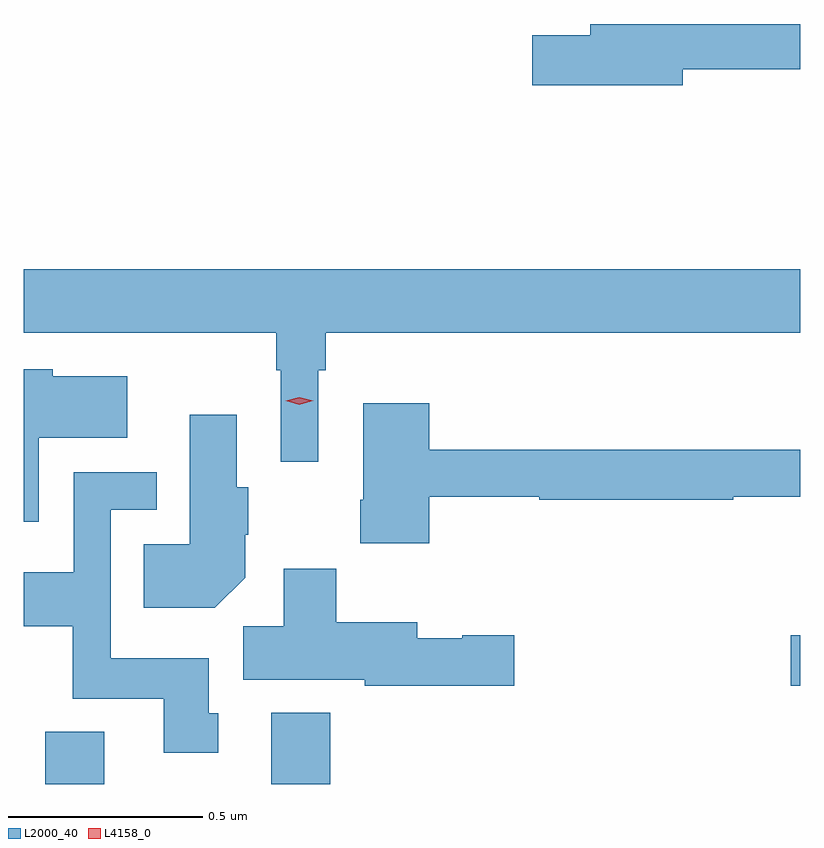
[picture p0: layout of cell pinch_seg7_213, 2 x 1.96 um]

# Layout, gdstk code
import gdstk
lib = gdstk.Library(unit=1e-6, precision=1e-09)
def R(c, l, rs):  # rectangles x0, y0, x1, y1
    for r in rs: c.add(gdstk.rectangle(r[:2], r[2:], *l))
def P(c, l, *ps):  # polygons
    for p in ps: c.add(gdstk.Polygon(p, *l))
L2000_40 = (2000, 40)
L4158_0 = (4158, 0)

pinch_seg7_213 = lib.new_cell('pinch_seg7_213')
R(pinch_seg7_213, L2000_40, [(660.917,1070.05,661.069,1070.185), (661.499,1070.05,661.652,1070.233), (662.838,1070.303,662.862,1070.433)])
P(pinch_seg7_213, L2000_40, [(662.56,1071.892),(662.862,1071.892),(662.862,1072.008),(662.321,1072.008),(662.321,1071.979),(662.172,1071.979),(662.172,1071.85),(662.56,1071.85)],
  [(661.62,1071.116),(661.64,1071.116),(661.64,1071.212),(662.862,1071.212),(662.862,1071.376),(660.862,1071.376),(660.862,1071.212),(661.512,1071.212),(661.512,1071.116),(661.524,1071.116),(661.524,1070.88),(661.62,1070.88)],
  [(660.9,1070.942),(661.129,1070.942),(661.129,1071.1),(660.936,1071.1),(660.936,1071.118),(660.862,1071.118),(660.862,1070.726),(660.9,1070.726)],
  [(661.907,1070.79),(662.19,1070.79),(662.19,1070.782),(662.69,1070.782),(662.69,1070.79),(662.862,1070.79),(662.862,1070.911),(661.907,1070.911),(661.907,1071.031),(661.736,1071.031),(661.736,1070.782),(661.729,1070.782),(661.729,1070.67),(661.907,1070.67)],
  [(661.432,1070.582),(661.432,1070.692),(661.44,1070.692),(661.44,1070.814),(661.411,1070.814),(661.411,1071.001),(661.289,1071.001),(661.289,1070.668),(661.171,1070.668),(661.171,1070.504),(661.354,1070.504)],
  [(661.363,1070.232),(661.339,1070.232),(661.339,1070.374),(661.086,1070.374),(661.086,1070.757),(661.204,1070.757),(661.204,1070.853),(660.99,1070.853),(660.99,1070.596),(660.862,1070.596),(660.862,1070.456),(660.988,1070.456),(660.988,1070.27),(661.223,1070.27),(661.223,1070.13),(661.363,1070.13)],
  [(662.125,1070.433),(661.992,1070.433),(661.992,1070.425),(661.876,1070.425),(661.876,1070.467),(661.667,1070.467),(661.667,1070.605),(661.532,1070.605),(661.532,1070.456),(661.427,1070.456),(661.427,1070.318),(661.74,1070.318),(661.74,1070.303),(662.125,1070.303)])
P(pinch_seg7_213, L4158_0, [(661.572,1071.027),(661.537,1071.037),(661.536,1071.037),(661.537,1071.037),(661.572,1071.047),(661.608,1071.037),(661.608,1071.037),(661.608,1071.037)])

lib.write_gds('pinch_seg7_213.gds')
